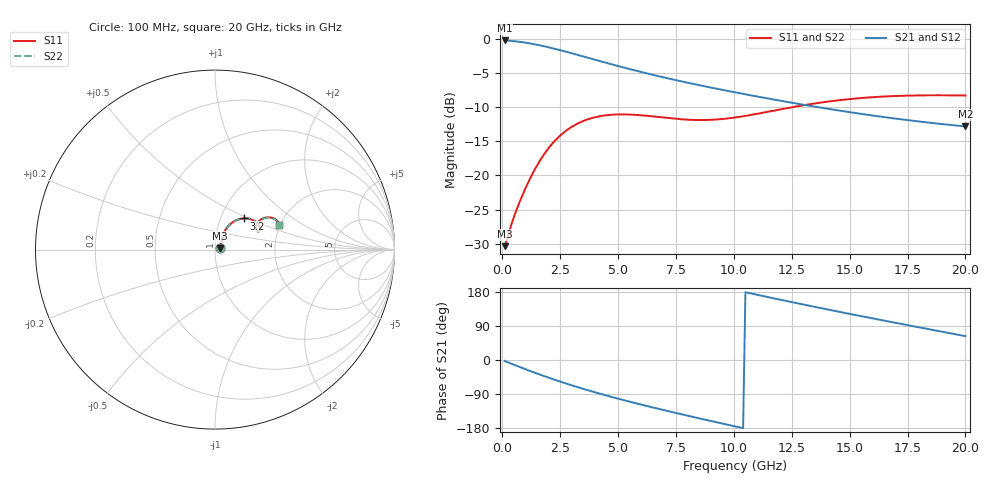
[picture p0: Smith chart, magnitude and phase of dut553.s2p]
! Touchstone file exported from HFSS 2024.1.0
!  File:  C:/UserFiles/LocalFiles/RDL_TSV_Batchsim/temp_RDL_TSV_553_1779750228.aedt
!  Generated:  07:21:14 AM May 26, 2026
!  Design:  RDL_TSV
!  Project:  temp_RDL_TSV_553_1779750228
!  Setup:  Setup1
!  Solution:  Sweep
! Variables:
!  dtsv = 12.13um
!  hbump = 3um
!  htsv = 57.55um
!  ldown = 690.09um
!  lrdl = 656.29um
!  p = 40
!  p1 = 50.73um
!  rhole = 10um
!  subl = 4695.43um
!  t = 450um
!  tdown = 3.35um
!  trdl = 2.59um
!  viad = 10um
!  wdown = 20.06um
!  wrdl = 19.23um
!  xbump = 18um
# GHz S MA R 50.000000
! Terminal data exported
! Port[1] = TM1_1_T1
! Port[2] = TM1_4_T1
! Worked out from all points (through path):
!   200 points, 100 MHz to 20 GHz, reference 50 ohm
!   highest |S21| = -0.26 dB at 100 MHz (marker M1); lowest = -12.8 dB at 20 GHz (marker M2)
!   group delay of S21, straight-line fit = 39.3 ps
!   lowest |S11| = -30.3 dB at 100 MHz (marker M3), VSWR 1.06, Z = 53 + j0.846 ohm
!   |S11| at or under -10 dB: start of sweep to 12.56 GHz
!   |S22| runs from -30.3 to -8.3 dB; largest |S21 - S12| = 8.5e-15
!   S11 on the Smith chart (normalised r, x): 100 MHz: 1.06, +0.02; 3.2 GHz: 1.29, +0.47; 20 GHz: 1.99, +0.64
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0.1  0.03042 15.2  0.9704 -2.5  0.9704 -2.5  0.03042 15.2
! Gamma 0 0 0 0
! Port Impedance 50 0 50 0
0.4  0.04424 41.4  0.9627 -10.0  0.9627 -10.0  0.04423 41.4
0.7  0.06113 52.8  0.9506 -17.2  0.9506 -17.2  0.06112 52.8
1.1  0.08768 60.2  0.9291 -26.6  0.9291 -26.6  0.08769 60.3
1.5  0.1183 62.0  0.9026 -35.7  0.9026 -35.7  0.1184 62.2
1.9  0.1505 60.5  0.8725 -44.5  0.8725 -44.5  0.1507 60.6
2.3  0.1814 57.1  0.8403 -52.9  0.8403 -52.9  0.1817 57.2
2.7  0.2089 52.8  0.8071 -61.0  0.8071 -61.0  0.2094 53.0
3.2  0.2371 47.1  0.7656 -70.7  0.7656 -70.7  0.2377 47.2
3.5  0.2503 43.7  0.7412 -76.2  0.7412 -76.2  0.2511 43.9
4.3  0.2726 35.6  0.6796 -90.4  0.6796 -90.4  0.2738 35.7
5.1  0.2796 29.2  0.6244 -103.6  0.6244 -103.6  0.281 29.4
5.9  0.2762 25.0  0.5761 -116.2  0.5761 -116.2  0.278 25.1
6.8  0.2668 22.8  0.5292 -129.7  0.5292 -129.7  0.2688 22.8
7.6  0.2586 23.0  0.493 -141.2  0.493 -141.2  0.2606 23.0
8.4  0.2543 24.9  0.4611 -152.5  0.4611 -152.5  0.2563 24.7
10.1  0.266 30.4  0.4038 -175.8  0.4038 -175.8  0.2675 30.1
11.8  0.2993 33.2  0.357 161.7  0.357 161.7  0.3 32.8
13.4  0.3342 32.3  0.3205 141.4  0.3205 141.4  0.3343 31.9
15  0.3618 29.4  0.2902 121.7  0.2902 121.7  0.3615 29.1
16.7  0.3793 25.9  0.2642 101.4  0.2642 101.4  0.3786 25.6
20  0.3841 20.8  0.2282 62.9  0.2282 62.9  0.383 20.6
